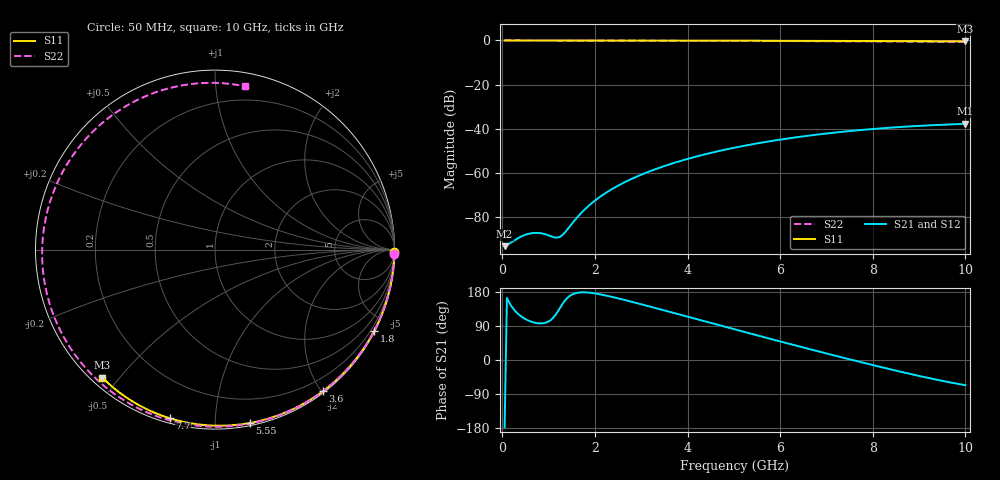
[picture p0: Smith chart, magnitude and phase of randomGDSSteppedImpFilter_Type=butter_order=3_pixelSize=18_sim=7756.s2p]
! freq	dB(S11)	phase(S11)	dB(S12)	phase(S12)
!  dB(S21)	phase(S21)	dB(S22)	phase(S22)
!S-par simulation data
#  GHz  S  DB  R 50
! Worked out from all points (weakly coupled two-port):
!   200 points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, 50 MHz to 10 GHz, reference 50 ohm
!   highest |S21| = -37.74 dB at 10 GHz (marker M1); lowest = -93.1 dB at 50 MHz (marker M2)
!   lowest |S11| = -0.4 dB at 10 GHz (marker M3), VSWR 39.11, Z = 1.54 - j22.6 ohm
!   |S11| at or under -10 dB: nowhere
!   |S22| runs from -0.7 to 0.0 dB; largest |S21 - S12| = 0
!   S11 on the Smith chart (normalised r, x): 50 MHz: open; 1.8 GHz: 0.04, -4.18; 3.6 GHz: 0.02, -2.02; 5.55 GHz: 0.02, -1.22; 7.7 GHz: 0.02, -0.77; 10 GHz: 0.03, -0.45
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0.05  -0.00 -0.8  -93.14 -178.1  -93.14 -178.1  -0.00 -1.5
0.8  -0.01 -12.1  -87.20 96.7  -87.20 96.7  -0.03 -24.0
1.6  -0.03 -24.0  -80.51 176.8  -80.51 176.8  -0.06 -47.2
1.75  -0.03 -26.2  -77.12 178.6  -77.12 178.6  -0.06 -51.5
1.8  -0.03 -26.9  -76.10 178.4  -76.10 178.4  -0.07 -52.9
2.1  -0.04 -31.3  -70.95 173.6  -70.95 173.6  -0.08 -61.3
2.45  -0.05 -36.4  -66.32 164.2  -66.32 164.2  -0.09 -70.9
2.9  -0.06 -42.8  -61.67 150.3  -61.67 150.3  -0.10 -83.0
3.4  -0.07 -49.9  -57.58 134.1  -57.58 134.1  -0.12 -96.1
3.6  -0.07 -52.6  -56.17 127.5  -56.17 127.5  -0.13 -101.3
4.3  -0.09 -62.2  -51.96 104.5  -51.96 104.5  -0.16 -118.9
5.05  -0.11 -72.2  -48.40 79.8  -48.40 79.8  -0.20 -137.5
5.55  -0.13 -78.6  -46.44 63.5  -46.44 63.5  -0.23 -149.8
6.15  -0.15 -86.2  -44.43 44.1  -44.43 44.1  -0.28 -164.7
6.7  -0.18 -93.0  -42.88 26.6  -42.88 26.6  -0.32 -178.7
7.2  -0.21 -99.0  -41.66 11.0  -41.66 11.0  -0.37 168.1
7.7  -0.24 -105.0  -40.63 -4.4  -40.63 -4.4  -0.42 154.3
8.35  -0.29 -112.6  -39.52 -23.7  -39.52 -23.7  -0.48 135.3
8.85  -0.33 -118.3  -38.85 -37.9  -38.85 -37.9  -0.54 119.6
9.25  -0.37 -122.9  -38.41 -48.7  -38.41 -48.7  -0.58 106.3
9.65  -0.41 -127.4  -38.03 -58.6  -38.03 -58.6  -0.63 92.4
10  -0.44 -131.3  -37.74 -66.6  -37.74 -66.6  -0.68 79.7
